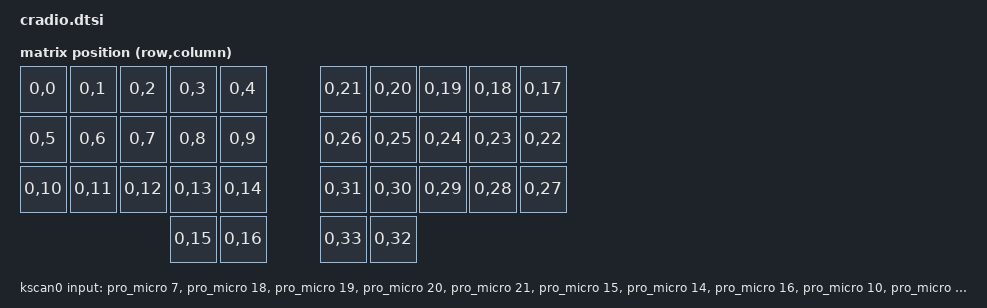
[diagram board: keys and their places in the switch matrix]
/*
 * Copyright (c) 2020 The ZMK Contributors
 *
 * SPDX-License-Identifier: MIT
 */

#include <dt-bindings/zmk/matrix_transform.h>

/ {

    chosen {
        zmk,kscan = &kscan0;
        zmk,matrix-transform = &default_transform;
    };

    default_transform: keymap_transform_0 {
        compatible = "zmk,matrix-transform";
        columns = <34>;
        rows = <1>;
        map = <
        RC(0,0)  RC(0,1)  RC(0,2)  RC(0,3)  RC(0,4)    RC(0,21) RC(0,20) RC(0,19) RC(0,18) RC(0,17)
        RC(0,5)  RC(0,6)  RC(0,7)  RC(0,8)  RC(0,9)    RC(0,26) RC(0,25) RC(0,24) RC(0,23) RC(0,22)
        RC(0,10) RC(0,11) RC(0,12) RC(0,13) RC(0,14)   RC(0,31) RC(0,30) RC(0,29) RC(0,28) RC(0,27)
                                   RC(0,15) RC(0,16)   RC(0,33) RC(0,32)
        >;
    };

    kscan0: kscan {
        compatible = "zmk,kscan-gpio-direct";
        wakeup-source;

        input-gpios
        = <&pro_micro  7 (GPIO_ACTIVE_LOW | GPIO_PULL_UP)>
        , <&pro_micro 18 (GPIO_ACTIVE_LOW | GPIO_PULL_UP)>
        , <&pro_micro 19 (GPIO_ACTIVE_LOW | GPIO_PULL_UP)>
        , <&pro_micro 20 (GPIO_ACTIVE_LOW | GPIO_PULL_UP)>
        , <&pro_micro 21 (GPIO_ACTIVE_LOW | GPIO_PULL_UP)>
        , <&pro_micro 15 (GPIO_ACTIVE_LOW | GPIO_PULL_UP)>
        , <&pro_micro 14 (GPIO_ACTIVE_LOW | GPIO_PULL_UP)>
        , <&pro_micro 16 (GPIO_ACTIVE_LOW | GPIO_PULL_UP)>
        , <&pro_micro 10 (GPIO_ACTIVE_LOW | GPIO_PULL_UP)>
        , <&pro_micro  1 (GPIO_ACTIVE_LOW | GPIO_PULL_UP)>
        , <&pro_micro  2 (GPIO_ACTIVE_LOW | GPIO_PULL_UP)>
        , <&pro_micro  3 (GPIO_ACTIVE_LOW | GPIO_PULL_UP)>
        , <&pro_micro  4 (GPIO_ACTIVE_LOW | GPIO_PULL_UP)>
        , <&pro_micro  5 (GPIO_ACTIVE_LOW | GPIO_PULL_UP)>
        , <&pro_micro  6 (GPIO_ACTIVE_LOW | GPIO_PULL_UP)>
        , <&pro_micro  8 (GPIO_ACTIVE_LOW | GPIO_PULL_UP)>
        , <&pro_micro  9 (GPIO_ACTIVE_LOW | GPIO_PULL_UP)>
        ;
    };

};



&pinctrl {
    spi0_default: spi0_default {
        group1 {
            psels = <NRF_PSEL(SPIM_SCK, 0, 17)>, // change these to reflect the trf micrro top pins 
                <NRF_PSEL(SPIM_MOSI, 0, 20)>,
                <NRF_PSEL(SPIM_MISO, 0, 8)>;
        };
    };

    spi0_sleep: spi0_sleep {
        group1 {
            psels = <NRF_PSEL(SPIM_SCK, 0, 17)>,
                <NRF_PSEL(SPIM_MOSI, 0, 20)>,
                <NRF_PSEL(SPIM_MISO, 0, 8)>;
            low-power-enable;
        };
    };
};

&spi0 {
    status = "okay";
    compatible = "nordic,nrf-spim";
    pinctrl-0 = <&spi0_default>;
    pinctrl-1 = <&spi0_sleep>;
    pinctrl-names = "default", "sleep";
    cs-gpios = <&gpio0 10 GPIO_ACTIVE_LOW>; // P0.06

    trackpad: glidepoint@0 {
        compatible = "cirque,pinnacle";
        status = "okay";
        reg = <0>;
        label = "Cirque Trackpad";
        spi-max-frequency = <10000000>;
        dr-gpios = <&gpio0 6 GPIO_ACTIVE_HIGH>;
        no-taps;
    };
};


